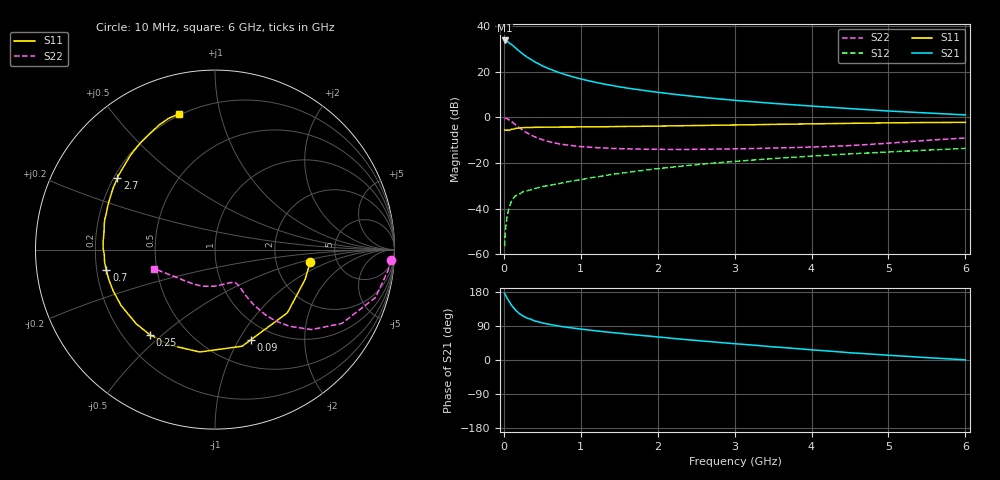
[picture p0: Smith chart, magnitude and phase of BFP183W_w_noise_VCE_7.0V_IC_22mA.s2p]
! (c) 2017  Infineon Technologies AG, Munich
! Infineon Technologies  Discrete & RF Semiconductors
! BFP183W
! VCE =  7.0 V,  IC =  22 mA
! Common Emitter S-Parameters:  Jan 2017
# GHz  S  MA  R  50
!  f  S11  S21  S12  S22
! GHz  MAG  ANG  MAG  ANG  MAG  ANG  MAG  ANG
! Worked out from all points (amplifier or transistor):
!   77 points, 10 MHz to 6 GHz, reference 50 ohm
!   highest |S21| = 33.8 dB at 10 MHz (marker M1)
!   |S21| within 3 dB of that: start of sweep to 142.4 MHz
!   unconditionally stable (mu >= 1): 1.154 GHz to 3.472 GHz
!   at 130 MHz: K = 0.24, MSG = 33.2 dB, |S12| = -35.2 dB
!   at 2.2 GHz: K = 1.06, MAG = 14.5 dB, |S12| = -21.7 dB
!   at 6 GHz: K = 0.86, MSG = 7.3 dB, |S12| = -13.6 dB
!   lowest NFmin = 1.22 dB at 450 MHz
!   S11 on the Smith chart (normalised r, x): 10 MHz: 3.16, -0.63; 90 MHz: 0.80, -1.13; 250 MHz: 0.31, -0.45; 700 MHz: 0.24, -0.09; 2.7 GHz: 0.21, +0.31; 6 GHz: 0.19, +0.75
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0.01  0.5349 -7.6  49.03 176.2  0.0015 88.0  0.9809 -3.3
0.02  0.529 -18.3  48.34 171.6  0.0032 84.0  0.9717 -6.8
0.05  0.5355 -41.1  45.87 160.5  0.0078 72.9  0.9325 -16.7
0.09  0.5402 -68.1  40.93 147.7  0.0133 65.0  0.8362 -27.3
0.1  0.5592 -74.3  40.06 144.1  0.0147 63.9  0.8172 -30.3
0.15  0.5768 -98.5  33.89 131.9  0.0191 55.5  0.6973 -39.7
0.2  0.588 -115.1  28.62 122.8  0.0206 49.9  0.5978 -45.7
0.25  0.5973 -127.5  24.52 115.9  0.0236 48.0  0.5194 -49.8
0.3  0.603 -136.7  21.24 110.8  0.0245 45.8  0.4591 -52.3
0.4  0.609 -149.3  16.7 103.2  0.0274 46.7  0.3766 -54.9
0.5  0.6121 -157.8  13.62 97.9  0.0305 46.7  0.3254 -55.9
0.6  0.6147 -164.3  11.51 93.7  0.0327 48.1  0.291 -56.4
0.7  0.6163 -169.2  9.923 90.2  0.0349 50.7  0.2674 -56.3
0.9  0.6175 -177.4  7.769 84.2  0.0408 53.5  0.2393 -56.9
1.1  0.6249 176.7  6.407 79.3  0.0467 56.3  0.2238 -57.8
1.5  0.6338 166.7  4.721 70.6  0.0591 58.0  0.2073 -61.6
2.1  0.6508 154.2  3.41 59.0  0.0786 58.6  0.1995 -72.5
2.7  0.6735 143.9  2.653 48.2  0.0988 57.1  0.202 -87.3
3.1  0.688 137.5  2.31 41.5  0.1119 55.4  0.2063 -97.6
4.1  0.7289 123.6  1.736 25.4  0.1455 50.5  0.2274 -123.5
5.1  0.7648 112.9  1.361 11.3  0.1784 44.7  0.2806 -149.0
6  0.7822 104.8  1.138 0.3  0.2096 38.9  0.3552 -162.7
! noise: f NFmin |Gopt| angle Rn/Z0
0.45  1.22  0.22  174  0.1
0.9  1.25  0.26  177  0.09
1.9  1.73  0.41  -161  0.09
2.4  1.96  0.46  -155  0.12
